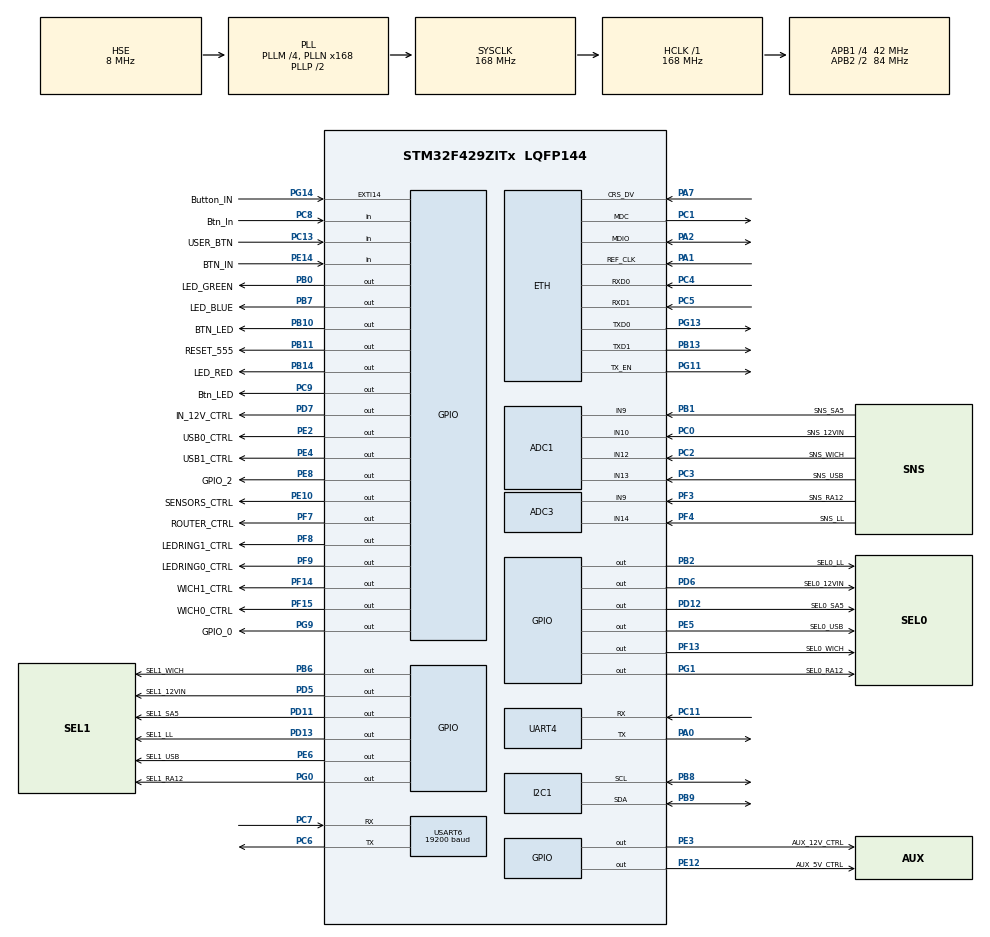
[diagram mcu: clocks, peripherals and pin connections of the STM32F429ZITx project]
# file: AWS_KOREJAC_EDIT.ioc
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ADC1.Channel-1\#ChannelRegularConversion=ADC_CHANNEL_9
ADC1.Channel-2\#ChannelRegularConversion=ADC_CHANNEL_9
ADC1.Channel-3\#ChannelRegularConversion=ADC_CHANNEL_9
ADC1.Channel-4\#ChannelRegularConversion=ADC_CHANNEL_9
ADC1.ContinuousConvMode=ENABLE
ADC1.NbrOfConversion=4
ADC1.NbrOfConversionFlag=1
ADC1.Rank-1\#ChannelRegularConversion=1
ADC1.Rank-2\#ChannelRegularConversion=2
ADC1.Rank-3\#ChannelRegularConversion=3
ADC1.Rank-4\#ChannelRegularConversion=4
ADC1.SamplingTime-1\#ChannelRegularConversion=ADC_SAMPLETIME_3CYCLES
ADC1.SamplingTime-2\#ChannelRegularConversion=ADC_SAMPLETIME_3CYCLES
ADC1.SamplingTime-3\#ChannelRegularConversion=ADC_SAMPLETIME_3CYCLES
ADC1.SamplingTime-4\#ChannelRegularConversion=ADC_SAMPLETIME_3CYCLES
ADC1.ScanConvMode=ENABLE
ADC1.master=1
ADC3.Channel-0\#ChannelRegularConversion=ADC_CHANNEL_9
ADC3.Channel-1\#ChannelRegularConversion=ADC_CHANNEL_9
ADC3.ContinuousConvMode=ENABLE
ADC3.NbrOfConversion=2
ADC3.NbrOfConversionFlag=1
ADC3.Rank-0\#ChannelRegularConversion=1
ADC3.Rank-1\#ChannelRegularConversion=2
ADC3.SamplingTime-0\#ChannelRegularConversion=ADC_SAMPLETIME_3CYCLES
ADC3.SamplingTime-1\#ChannelRegularConversion=ADC_SAMPLETIME_3CYCLES
ADC3.ScanConvMode=ENABLE
ETH.MediaInterface=ETH_MEDIA_INTERFACE_RMII
ETH.PhyAddress=0
FREERTOS.Tasks01=defaultTask,0,1024,StartDefaultTask,Default,NULL,Dynamic,NULL,NULL
FREERTOS.configCHECK_FOR_STACK_OVERFLOW=2
FREERTOS.configENABLE_FPU=1
FREERTOS.configMINIMAL_STACK_SIZE=256
FREERTOS.configTOTAL_HEAP_SIZE=65535
LWIP.LWIP_NETIF_LINK_CALLBACK=1
LWIP.LWIP_SO_RCVBUF=1
LWIP.Version=v2.1.2_Cube
MBEDTLS.MBEDTLS_DEBUG_C=1
MBEDTLS.MBEDTLS_DHM_C=1
MBEDTLS.MBEDTLS_ECJPAKE_C=1
MBEDTLS.MBEDTLS_ECP_DP_CURVE448_ENABLED=0
MBEDTLS.MBEDTLS_ECP_DP_SECP384R1_ENABLED=0
MBEDTLS.MBEDTLS_ENTROPY_FORCE_SHA256=1
MBEDTLS.MBEDTLS_KEY_EXCHANGE_DHE_PSK_ENABLED=0
MBEDTLS.MBEDTLS_KEY_EXCHANGE_DHE_RSA_ENABLED=0
MBEDTLS.MBEDTLS_KEY_EXCHANGE_ECDHE_ECDSA_ENABLED=1
MBEDTLS.MBEDTLS_KEY_EXCHANGE_ECDHE_PSK_ENABLED=0
MBEDTLS.MBEDTLS_KEY_EXCHANGE_ECDHE_RSA_ENABLED=1
MBEDTLS.MBEDTLS_KEY_EXCHANGE_ECDH_ECDSA_ENABLED=0
MBEDTLS.MBEDTLS_KEY_EXCHANGE_ECDH_RSA_ENABLED=0
MBEDTLS.MBEDTLS_KEY_EXCHANGE_ECJPAKE_ENABLED=0
MBEDTLS.MBEDTLS_KEY_EXCHANGE_PSK_ENABLED=0
MBEDTLS.MBEDTLS_KEY_EXCHANGE_RSA_ENABLED=1
MBEDTLS.MBEDTLS_KEY_EXCHANGE_RSA_PSK_ENABLED=0
MBEDTLS.MBEDTLS_MD5_C=1
MBEDTLS.MBEDTLS_MPI_MAX_SIZE=256
MBEDTLS.MBEDTLS_PKCS1_V15=1
MBEDTLS.MBEDTLS_PKCS1_V21=1
MBEDTLS.MBEDTLS_PLATFORM_MEMORY=1
MBEDTLS.MBEDTLS_RSA_C=1
MBEDTLS.MBEDTLS_SHA1_C=1
MBEDTLS.MBEDTLS_SSL_CIPHERSUITES=MBEDTLS_TLS_ECDHE_ECDSA_WITH_AES_256_GCM_SHA384,MBEDTLS_TLS_ECDHE_ECDSA_WITH_AES_128_GCM_SHA256,MBEDTLS_TLS_ECDHE_RSA_WITH_AES_128_GCM_SHA256
MBEDTLS.MBEDTLS_SSL_CIPHERSUITES_ENABLE=0
MBEDTLS.MBEDTLS_SSL_IN_CONTENT_LEN=4096
MBEDTLS.MBEDTLS_SSL_IN_CONTENT_LEN_ENABLE=0
MBEDTLS.MBEDTLS_SSL_MAX_CONTENT_LEN=8192
MBEDTLS.MBEDTLS_SSL_MAX_CONTENT_LEN_ENABLE=1
Mcu.Family=STM32F4
Mcu.Name=STM32F429ZITx
Mcu.Package=LQFP144
NVIC.ETH_IRQn=true\:5\:0\:false\:false\:true\:true\:false\:true
NVIC.PriorityGroup=NVIC_PRIORITYGROUP_4
NVIC.TIM6_DAC_IRQn=true\:0\:0\:false\:false\:true\:false\:false\:true
NVIC.TimeBase=TIM6_DAC_IRQn
NVIC.TimeBaseIP=TIM6
PA0/WKUP.Mode=Asynchronous
PA0/WKUP.Signal=UART4_TX
PA1.Mode=RMII
PA1.Signal=ETH_REF_CLK
PA13.Mode=Trace_Asynchronous_SW
PA13.Signal=SYS_JTMS-SWDIO
PA14.Mode=Trace_Asynchronous_SW
PA14.Signal=SYS_JTCK-SWCLK
PA2.Mode=RMII
PA2.Signal=ETH_MDIO
PA7.Mode=RMII
PA7.Signal=ETH_CRS_DV
PB0.GPIO_Label=LED_GREEN
PB0.Signal=GPIO_Output
PB1.GPIO_Label=SNS_SA5
PB1.Signal=ADCx_IN9
PB10.GPIO_Label=BTN_LED
PB10.Signal=GPIO_Output
PB11.GPIO_Label=RESET_555
PB11.Signal=GPIO_Output
PB13.Mode=RMII
PB13.Signal=ETH_TXD1
PB14.GPIO_Label=LED_RED
PB14.Signal=GPIO_Output
PB2/BOOT1.GPIO_Label=SEL0_LL
PB2/BOOT1.Signal=GPIO_Output
PB3.Mode=Trace_Asynchronous_SW
PB3.Signal=SYS_JTDO-SWO
PB6.GPIO_Label=SEL1_WICH
PB6.Signal=GPIO_Output
PB7.GPIO_Label=LED_BLUE
PB7.Signal=GPIO_Output
PB8.Mode=I2C
PB8.Signal=I2C1_SCL
PB9.Mode=I2C
PB9.Signal=I2C1_SDA
PC0.GPIO_Label=SNS_12VIN
PC0.Signal=ADCx_IN10
PC1.Mode=RMII
PC1.Signal=ETH_MDC
PC11.Mode=Asynchronous
PC11.Signal=UART4_RX
PC13.GPIO_Label=USER_BTN
PC13.Signal=GPIO_Input
PC14/OSC32_IN.Mode=LSE-External-Oscillator
PC14/OSC32_IN.Signal=RCC_OSC32_IN
PC15/OSC32_OUT.Mode=LSE-External-Oscillator
PC15/OSC32_OUT.Signal=RCC_OSC32_OUT
PC2.GPIO_Label=SNS_WICH
PC2.Signal=ADCx_IN12
PC3.GPIO_Label=SNS_USB
PC3.Signal=ADCx_IN13
PC4.Mode=RMII
PC4.Signal=ETH_RXD0
PC5.Mode=RMII
PC5.Signal=ETH_RXD1
PC6.Mode=Asynchronous
PC6.Signal=USART6_TX
PC7.Mode=Asynchronous
PC7.Signal=USART6_RX
PC8.GPIO_Label=Btn_In
PC8.Signal=GPIO_Input
PC9.GPIO_Label=Btn_LED
PC9.Signal=GPIO_Output
PD11.GPIO_Label=SEL1_SA5
PD11.Signal=GPIO_Output
PD12.GPIO_Label=SEL0_SA5
PD12.Signal=GPIO_Output
PD13.GPIO_Label=SEL1_LL
PD13.Signal=GPIO_Output
PD5.GPIO_Label=SEL1_12VIN
PD5.Signal=GPIO_Output
PD6.GPIO_Label=SEL0_12VIN
PD6.Signal=GPIO_Output
PD7.GPIO_Label=IN_12V_CTRL
PD7.Signal=GPIO_Output
PE10.GPIO_Label=SENSORS_CTRL
PE10.Signal=GPIO_Output
PE12.GPIO_Label=AUX_5V_CTRL
PE12.Signal=GPIO_Output
PE14.GPIO_Label=BTN_IN
PE14.Signal=GPIO_Input
PE2.GPIO_Label=USB0_CTRL
PE2.Signal=GPIO_Output
PE3.GPIO_Label=AUX_12V_CTRL
PE3.Signal=GPIO_Output
PE4.GPIO_Label=USB1_CTRL
PE4.Signal=GPIO_Output
PE5.GPIO_Label=SEL0_USB
PE5.Signal=GPIO_Output
PE6.GPIO_Label=SEL1_USB
PE6.Signal=GPIO_Output
PE8.GPIO_Label=GPIO_2
PE8.Signal=GPIO_Output
PF13.GPIO_Label=SEL0_WICH
PF13.Signal=GPIO_Output
PF14.GPIO_Label=WICH1_CTRL
PF14.Signal=GPIO_Output
PF15.GPIO_Label=WICH0_CTRL
PF15.Signal=GPIO_Output
PF3.GPIO_Label=SNS_RA12
PF3.Mode=IN9
PF3.Signal=ADC3_IN9
PF4.GPIO_Label=SNS_LL
PF4.Mode=IN14
PF4.Signal=ADC3_IN14
PF7.GPIO_Label=ROUTER_CTRL
PF7.Signal=GPIO_Output
PF8.GPIO_Label=LEDRING1_CTRL
PF8.Signal=GPIO_Output
PF9.GPIO_Label=LEDRING0_CTRL
PF9.Signal=GPIO_Output
PG0.GPIO_Label=SEL1_RA12
PG0.Signal=GPIO_Output
PG1.GPIO_Label=SEL0_RA12
PG1.Signal=GPIO_Output
PG11.Mode=RMII
PG11.Signal=ETH_TX_EN
PG13.Mode=RMII
PG13.Signal=ETH_TXD0
PG14.GPIO_Label=Button_IN
PG14.GPIO_PuPd=GPIO_PULLDOWN
PG14.Signal=GPXTI14
PG9.GPIO_Label=GPIO_0
PG9.Signal=GPIO_Output
PH0/OSC_IN.Mode=HSE-External-Clock-Source
PH0/OSC_IN.Signal=RCC_OSC_IN
PH1/OSC_OUT.Mode=HSE-External-Clock-Source
PH1/OSC_OUT.Signal=RCC_OSC_OUT
ProjectManager.HeapSize=0x200
ProjectManager.StackSize=0x400
ProjectManager.TargetToolchain=STM32CubeIDE
RCC.48MHZClocksFreq_Value=48000000
RCC.AHBFreq_Value=168000000
RCC.APB1CLKDivider=RCC_HCLK_DIV4
RCC.APB1Freq_Value=42000000
RCC.APB1TimFreq_Value=84000000
RCC.APB2CLKDivider=RCC_HCLK_DIV2
RCC.APB2Freq_Value=84000000
RCC.APB2TimCLKDivider=2
RCC.APB2TimFreq_Value=168000000
RCC.CortexFreq_Value=168000000
RCC.HCLKFreq_Value=168000000
RCC.HSE_VALUE=8000000
RCC.HSI_VALUE=16000000
RCC.PLLM=4
RCC.PLLMUL=RCC_PLL_MUL9
RCC.PLLN=168
RCC.PLLQ=7
RCC.PLLSourceVirtual=RCC_PLLSOURCE_HSE
RCC.PRESCALERUSB=RCC_USBCLKSOURCE_PLL_DIV1_5
RCC.SYSCLKFreq_VALUE=168000000
RCC.SYSCLKSource=RCC_SYSCLKSOURCE_PLLCLK
RCC.SYSCLKSourceVirtual=RCC_SYSCLKSOURCE_PLLCLK
RCC.USBFreq_Value=48000000
RCC.VCOOutputFreq_Value=336000000
SH.ADCx_IN10.0=ADC1_IN10,IN10
SH.ADCx_IN12.0=ADC1_IN12,IN12
SH.ADCx_IN13.0=ADC1_IN13,IN13
SH.ADCx_IN9.0=ADC1_IN9,IN9
UART4.VirtualMode=Asynchronous
USART6.BaudRate=19200
USART6.VirtualMode=VM_ASYNC
VP_FREERTOS_VS_CMSIS_V1.Mode=CMSIS_V1
VP_LWIP_VS_Enabled.Mode=Enabled
VP_MBEDTLS_VS_MBEDTLS.Mode=Enabled
VP_RNG_VS_RNG.Mode=RNG_Activate
VP_SYS_VS_tim6.Mode=TIM6
board=NUCLEO-F429ZI

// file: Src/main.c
/* USER CODE BEGIN Header */
/**
  ******************************************************************************
  * @file           : main.c
  * @brief          : Main program body
  ******************************************************************************
  * @attention
  *
  * <h2><center>&copy; Copyright (c) 2020 STMicroelectronics.
  * All rights reserved.</center></h2>
  *
  * This software component is licensed by ST under Ultimate Liberty license
  * SLA0044, the "License"; You may not use this file except in compliance with
  * the License. You may obtain a copy of the License at:
  *                             www.st.com/SLA0044
  *
  ******************************************************************************
  */
/* USER CODE END Header */

#include "main.h"
#include "cmsis_os.h"
#include "adc.h"
#include "i2c.h"
#include "mbedtls.h"
#include "rng.h"
#include "usart.h"
#include "gpio.h"

/* USER CODE BEGIN Includes */
#include "time.h"
#include <string.h>
#include "RTC.h"
/* USER CODE END Includes */

/* USER CODE BEGIN PV */
extern uint32_t MilliTimer;
/* USER CODE END PV */

void SystemClock_Config(void);
void MX_FREERTOS_Init(void);

/* USER CODE BEGIN 0 */
int _write(int file, char *ptr, int len)
{
  int DataIdx;

  for (DataIdx = 0; DataIdx < len; DataIdx++)
  {
    ITM_SendChar(*ptr++);
  }
  return len;
}
/* USER CODE END 0 */

int main(void)
{

  /* MCU Configuration--------------------------------------------------------*/

  /* Reset of all peripherals, Initializes the Flash interface and the Systick. */
  HAL_Init();

  /* Configure the system clock */
  SystemClock_Config();

  /* Initialize all configured peripherals */
  MX_GPIO_Init();
  MX_RNG_Init();
  /* Up to user define the empty MX_MBEDTLS_Init() function located in mbedtls.c file */
  MX_UART4_Init();
  MX_I2C1_Init();
  MX_USART6_UART_Init();
  MX_ADC1_Init();
  MX_ADC3_Init();
  /* USER CODE BEGIN 2 */
  printf("Don't remove this printf to prevent hard fault.\r\n");
  srand(time(NULL));
  setTime(25, 35, 15, 4, 7, 10, 21);
  HAL_GPIO_WritePin(RESET_555_GPIO_Port, RESET_555_Pin, RESET);
  /* USER CODE END 2 */

  /* Call init function for freertos objects (in freertos.c) */
  MX_FREERTOS_Init();
  /* Start scheduler */
  osKernelStart();

  /* We should never get here as control is now taken by the scheduler */
  /* Infinite loop */
  while (1)
  {

  }
}

void SystemClock_Config(void)
{
  RCC_OscInitTypeDef RCC_OscInitStruct = {0};
  RCC_ClkInitTypeDef RCC_ClkInitStruct = {0};

  /** Configure the main internal regulator output voltage
  */
  __HAL_RCC_PWR_CLK_ENABLE();
  __HAL_PWR_VOLTAGESCALING_CONFIG(PWR_REGULATOR_VOLTAGE_SCALE1);
  /** Initializes the CPU, AHB and APB busses clocks
  */
  RCC_OscInitStruct.OscillatorType = RCC_OSCILLATORTYPE_HSE;
  RCC_OscInitStruct.HSEState = RCC_HSE_BYPASS;
  RCC_OscInitStruct.PLL.PLLState = RCC_PLL_ON;
  RCC_OscInitStruct.PLL.PLLSource = RCC_PLLSOURCE_HSE;
  RCC_OscInitStruct.PLL.PLLM = 4;
  RCC_OscInitStruct.PLL.PLLN = 168;
  RCC_OscInitStruct.PLL.PLLP = RCC_PLLP_DIV2;
  RCC_OscInitStruct.PLL.PLLQ = 7;
  if (HAL_RCC_OscConfig(&RCC_OscInitStruct) != HAL_OK)
  {
    Error_Handler();
  }
  /** Initializes the CPU, AHB and APB busses clocks
  */
  RCC_ClkInitStruct.ClockType = RCC_CLOCKTYPE_HCLK|RCC_CLOCKTYPE_SYSCLK
                              |RCC_CLOCKTYPE_PCLK1|RCC_CLOCKTYPE_PCLK2;
  RCC_ClkInitStruct.SYSCLKSource = RCC_SYSCLKSOURCE_PLLCLK;
  RCC_ClkInitStruct.AHBCLKDivider = RCC_SYSCLK_DIV1;
  RCC_ClkInitStruct.APB1CLKDivider = RCC_HCLK_DIV4;
  RCC_ClkInitStruct.APB2CLKDivider = RCC_HCLK_DIV2;

  if (HAL_RCC_ClockConfig(&RCC_ClkInitStruct, FLASH_LATENCY_5) != HAL_OK)
  {
    Error_Handler();
  }
}

 /**
  * @brief  Period elapsed callback in non blocking mode
  * @note   This function is called  when TIM6 interrupt took place, inside
  * HAL_TIM_IRQHandler(). It makes a direct call to HAL_IncTick() to increment
  * a global variable "uwTick" used as application time base.
  * @param  htim : TIM handle
  * @retval None
  */
void HAL_TIM_PeriodElapsedCallback(TIM_HandleTypeDef *htim)
{
  if (htim->Instance == TIM6) {
    HAL_IncTick();
  }
  /* USER CODE BEGIN Callback 1 */
  if (htim->Instance == TIM6) {
      MilliTimer++;
  }

  /* USER CODE END Callback 1 */
}

void Error_Handler(void)
{
}

/************************ (C) COPYRIGHT STMicroelectronics *****END OF FILE****/

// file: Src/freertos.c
/* USER CODE BEGIN Header */
/**
 ******************************************************************************
 * File Name          : freertos.c
 * Description        : Code for freertos applications
 ******************************************************************************
 * @attention
 *
 * <h2><center>&copy; Copyright (c) 2020 STMicroelectronics.
 * All rights reserved.</center></h2>
 *
 * This software component is licensed by ST under Ultimate Liberty license
 * SLA0044, the "License"; You may not use this file except in compliance with
 * the License. You may obtain a copy of the License at:
 *                             www.st.com/SLA0044
 *
 ******************************************************************************
 */
/* USER CODE END Header */

#include "FreeRTOS.h"
#include "task.h"
#include "main.h"
#include "cmsis_os.h"

/* USER CODE BEGIN Includes */
#include "lwip.h"
#include "lwip/api.h"
#include "mqtt_task.h"

/* USER CODE END Includes */

/* USER CODE BEGIN Variables */
extern struct netif gnetif; //extern gnetif

osThreadId mqttClientSubTaskHandle;  //mqtt client task handle
osThreadId mqttClientPubTaskHandle;  //mqtt client task handle
/* USER CODE END Variables */
osThreadId defaultTaskHandle;

/* USER CODE BEGIN FunctionPrototypes */
void MqttClientSubTask(void const *argument); //mqtt client subscribe task function
void MqttClientPubTask(void const *argument); //mqtt client publish task function
int  MqttConnectBroker(void); 				//mqtt broker connect function
void MqttMessageArrived(MessageData* msg); //mqtt message callback function
//void StartT2RTC(void const * argument);
/* USER CODE END FunctionPrototypes */

void StartDefaultTask(void const * argument);

extern void MX_LWIP_Init(void);
void MX_FREERTOS_Init(void); /* (MISRA C 2004 rule 8.1) */

/* GetIdleTaskMemory prototype (linked to static allocation support) */
void vApplicationGetIdleTaskMemory( StaticTask_t **ppxIdleTaskTCBBuffer, StackType_t **ppxIdleTaskStackBuffer, uint32_t *pulIdleTaskStackSize );

/* Hook prototypes */
void vApplicationStackOverflowHook(xTaskHandle xTask, signed char *pcTaskName);

/* USER CODE BEGIN 4 */
void vApplicationStackOverflowHook(xTaskHandle xTask, signed char *pcTaskName)
{
	/* Run time stack overflow checking is performed if
   configCHECK_FOR_STACK_OVERFLOW is defined to 1 or 2. This hook function is
   called if a stack overflow is detected. */
	HAL_GPIO_WritePin(LED_RED_GPIO_Port, LED_RED_Pin, GPIO_PIN_SET); //turn on red led when detects stack overflow

}
/* USER CODE END 4 */

/* USER CODE BEGIN GET_IDLE_TASK_MEMORY */
static StaticTask_t xIdleTaskTCBBuffer;
static StackType_t xIdleStack[configMINIMAL_STACK_SIZE];

void vApplicationGetIdleTaskMemory( StaticTask_t **ppxIdleTaskTCBBuffer, StackType_t **ppxIdleTaskStackBuffer, uint32_t *pulIdleTaskStackSize )
{
  *ppxIdleTaskTCBBuffer = &xIdleTaskTCBBuffer;
  *ppxIdleTaskStackBuffer = &xIdleStack[0];
  *pulIdleTaskStackSize = configMINIMAL_STACK_SIZE;
  /* place for user code */
}
/* USER CODE END GET_IDLE_TASK_MEMORY */

void MX_FREERTOS_Init(void) {

  /* Create the thread(s) */
  /* definition and creation of defaultTask */
  osThreadDef(defaultTask, StartDefaultTask, osPriorityNormal, 0, 1024);
  defaultTaskHandle = osThreadCreate(osThread(defaultTask), NULL);

}

void StartDefaultTask(void const * argument)
{
  /* USER CODE BEGIN StartDefaultTask */
	MX_LWIP_Init();

	while(1)
	{
		//waiting for valid ip address
		if (gnetif.ip_addr.addr == 0 || gnetif.netmask.addr == 0 || gnetif.gw.addr == 0) //system has no valid ip address
		{
			osDelay(1000);
			continue;
		}
		else
		{
			printf("DHCP/Static IP O.K.\n");
			break;
		}
	}
	/*
	 * !!! Important
	 * I don't know but mqttClientPubTask failed without compiler optimization option
	 */
	osThreadDef(mqttClientSubTask, MqttClientSubTask, osPriorityNormal, 0, 1024); //subscribe task
	mqttClientSubTaskHandle = osThreadCreate(osThread(mqttClientSubTask), NULL);
	osThreadDef(mqttClientPubTask, MqttClientPubTask, osPriorityAboveNormal, 0, 1024); //publish task
	mqttClientPubTaskHandle = osThreadCreate(osThread(mqttClientPubTask), NULL);

	/* Infinite loop */
	for(;;)
	{
		HAL_GPIO_TogglePin(LED_GREEN_GPIO_Port, LED_GREEN_Pin); //toggle running led
		osDelay(500);
	}
  /* USER CODE END StartDefaultTask */
}

/************************ (C) COPYRIGHT STMicroelectronics *****END OF FILE****/
